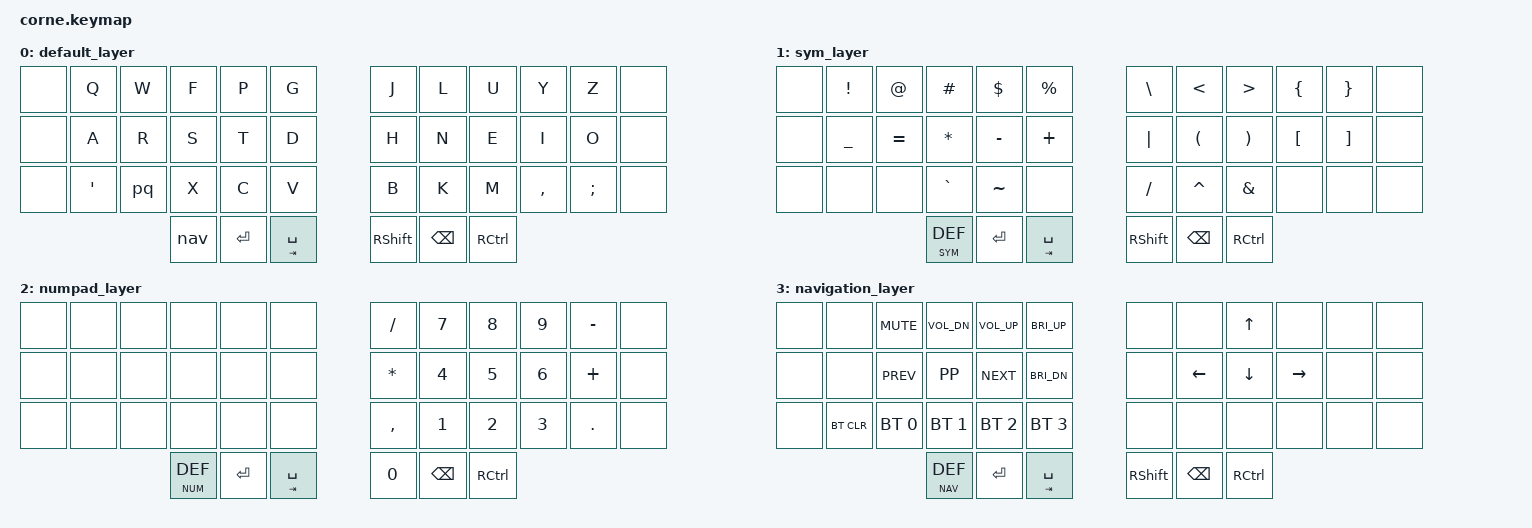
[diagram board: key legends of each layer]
/*
 * Copyright (c) 2020 The ZMK Contributors
 *
 * SPDX-License-Identifier: MIT
 */

#include <behaviors.dtsi>
#include <dt-bindings/zmk/keys.h>
#include <dt-bindings/zmk/bt.h>

#define DEF 0
#define SYM 1
#define NUM 2
#define NAV 3

/ {
        behaviors {
            to_sl: behavior_to_sl {
                compatible = "zmk,behavior-hold-tap";
                label = "to_sl";
                #binding-cells = <2>;
                flavor = "hold-preferred";
                tapping-term-ms = <200>;
                bindings = <&to>, <&sl>;
            };
            sl_to: behavior_sl_to {
                compatible = "zmk,behavior-hold-tap";
                label = "to_sl";
                #binding-cells = <2>;
                flavor = "hold-preferred";
                tapping-term-ms = <200>;
                bindings = <&sl>, <&to>;
            };
            to_to: behavior_to_sl {
                compatible = "zmk,behavior-hold-tap";
                label = "to_to";
                #binding-cells = <2>;
                flavor = "hold-preferred";
                tapping-term-ms = <300>;
                bindings = <&to>, <&to>;
            };
            nav: tap_dance_mod_tap {
                compatible = "zmk,behavior-tap-dance";
                label = "TAP_DANCE_MOD_TAP";
                #binding-cells = <0>;
                tapping-term-ms = <300>;
                bindings = <&mt CAPSLOCK ESC>, <&sl_to SYM SYM>, <&sl_to NUM NUM>, <&sl_to NAV NAV>;
            };
            pq: period_question {
                compatible = "zmk,behavior-mod-morph";
                label = "period_question";
                #binding-cells = <0>;
                bindings = <&kp DOT>, <&kp QMARK>;
                mods = <(MOD_LSFT|MOD_RSFT)>;
            };
        };

        keymap {
                compatible = "zmk,keymap";

                default_layer {
// -----------------------------------------------------------------------------------------
// | xxxx |  Q  |  W  |  F  |  P  |  G  |   |  J   |  L   |  U   |  Y  |  Z  | xxxx |
// | xxxx |  A  |  R  |  S  |  T  |  D  |   |  H   |  N   |  E   |  I  |  O  | xxxx |
// | xxxx |  '  |  .  |  X  |  C  |  V  |   |  B   |  K   |  M   |  ,  |  ;  | xxxx |
//                    | NAV | ENT | SPC |   | SHFT | BSPC | CTRL |
                        bindings = <
   &none &kp Q   &kp W   &kp F &kp P &kp G &kp J &kp L &kp U &kp Y     &kp Z    &none
   &none &kp A   &kp R   &kp S &kp T &kp D &kp H &kp N &kp E &kp I     &kp O    &none
   &none &kp SQT &pq &kp X &kp C &kp V &kp B &kp K &kp M &kp COMMA &kp SEMI &none
   &nav &kp RET &mt TAB SPACE &kp RSHFT &kp BSPC &kp RCTRL
                        >;
                };
                sym_layer {
// -----------------------------------------------------------------------------------------
// | xxxx |  !  |  @  |  #  |  $  |  %  |   | "\" |  <  |  >  |  {  |  }  | xxxx |
// | xxxx |  _  |  =  |  *  |  -  |  +  |   | "|" |  (  |  )  |  [  |  ]  | xxxx |
// | xxxx |     |     |  `  |  ~  |     |   |  /  |  ^  |  &  |     |     | xxxx |
//                    | NAV | ENT | SPC |   | SHFT | BSPC | CTRL |
                        bindings = <
   &none &kp EXCL  &kp AT    &kp HASH  &kp DLLR  &kp PRCNT &kp BSLH  &kp LT    &kp GT    &kp LBRC &kp RBRC &none
   &none &kp UNDER &kp EQUAL &kp STAR  &kp MINUS &kp PLUS  &kp PIPE  &kp LPAR  &kp RPAR  &kp LBKT &kp RBKT &none
   &none &none     &none     &kp GRAVE &kp TILDE &none     &kp SLASH &kp CARET &kp AMPS  &none    &none    &none
   &to_to SYM DEF &kp RET &mt TAB SPACE &kp RSHIFT &kp BSPC &kp RCTRL
                        >;
                };
                numpad_layer {
// -----------------------------------------------------------------------------------------
// | xxxx |     |     |     |     |     |   |  /  |  7  |  8  |  9  |  -  | xxxx |
// | xxxx |     |     |     |     |     |   |  *  |  4  |  5  |  6  |  +  | xxxx |
// | xxxx |     |     |     |     |     |   |  ,  |  1  |  2  |  3  |  .  | xxxx |
//                    | NAV | ENT | SPC |   |  0  | BSPC | CTRL |
                        bindings = <
   &none &none &none &none &none &none &kp SLASH &kp N7 &kp N8 &kp N9 &kp MINUS &none
   &none &none &none &none &none &none &kp STAR   &kp N4 &kp N5 &kp N6 &kp PLUS  &none
   &none &none &none &none &none &none &kp COMMA  &kp N1 &kp N2 &kp N3 &kp DOT   &none
   &to_to NUM DEF &kp RET &mt TAB SPACE &kp N0 &kp BSPC &kp RCTRL
                        >;
                };
                navigation_layer {
// -----------------------------------------------------------------------------------------
// | xxxx |     | MUT | VDN | VUP | BRG |   |      |      |  UP  |     |     | xxxx |
// | xxxx |     | PRV | PLY | NXT | DIM |   |      | LFT  | DWN  | RGT |     | xxxx |
// | xxxx |BTCLR| BT1 | BT2 | BT3 | BT4 |   |      |      |      |     |     | xxxx |
//                    | NAV | ENT | SPC |   | SHFT | BSPC | CTRL |
                        bindings = <
   &none &none &kp K_MUTE    &kp K_VOL_DN &kp K_VOL_UP &kp C_BRI_UP &none  &none   &kp  UP  &none    &none &none
   &none &none &kp K_PREV    &kp K_PP     &kp K_NEXT   &kp C_BRI_DN &none  &kp LEFT &kp DOWN &kp RIGHT &none &none
   &none &bt BT_CLR &bt BT_SEL 0 &bt BT_SEL 1 &bt BT_SEL 2 &bt BT_SEL 3 &none  &none   &none   &none    &none &none
   &to_to NAV DEF &kp RET &mt TAB SPACE &kp RSHIFT &kp BSPC &kp RCTRL
                        >;
                };
        };
};
